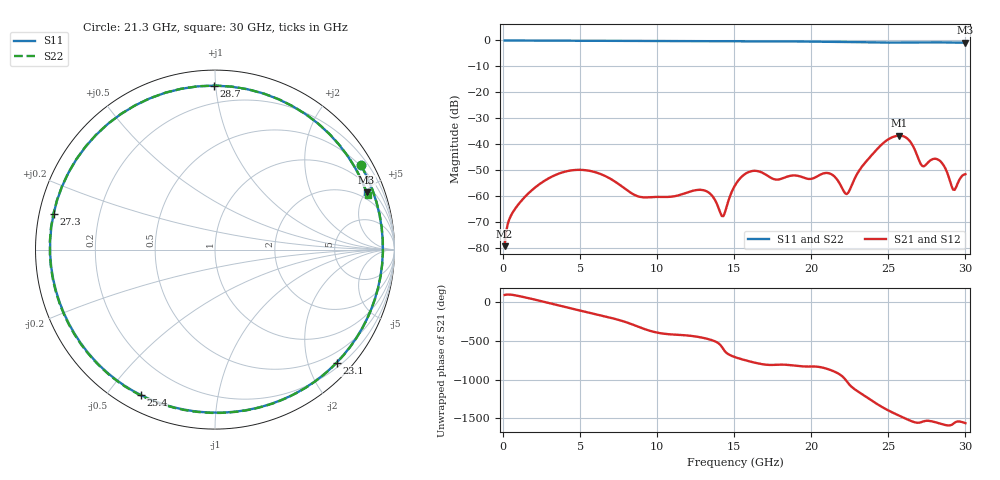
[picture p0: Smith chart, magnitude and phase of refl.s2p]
! Created Sat Feb 15 09:35:39 2025
! List of port names and net name(s): example Port n = <port_name> <net_name1> <net_name2> ...
! Port 1 = P1 P1
! Port 2 = P2 P2
# hz S ma R 50
! 2 Port Network Data from data block
! freq  magS11  angS11  magS21  angS21  magS12  angS12  magS22  angS22
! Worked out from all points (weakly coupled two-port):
!   300 points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, 100 MHz to 30 GHz, reference 50 ohm
!   highest |S21| = -36.63 dB at 25.7 GHz (marker M1); lowest = -79.2 dB at 100 MHz (marker M2)
!   lowest |S11| = -0.9 dB at 30 GHz (marker M3), VSWR 19.59, Z = 73.1 + j253 ohm
!   |S11| at or under -10 dB: nowhere
!   |S22| runs from -0.9 to 0.0 dB; largest |S21 - S12| = 0
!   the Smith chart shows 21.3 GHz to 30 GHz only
!   S11 on the Smith chart (normalised r, x): 21.3 GHz: 0.46, +3.66; 23.1 GHz: 0.29, -2.51; 25.4 GHz: 0.06, -0.61; 27.3 GHz: 0.04, +0.11; 28.7 GHz: 0.09, +0.99; 30 GHz: 1.46, +5.06
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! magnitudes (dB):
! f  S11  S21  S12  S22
! 100 MHz  0.0  -79.2  -79.2  0.0
! 500 MHz  0.0  -67.5  -67.5  0.0
! 1.6 GHz  -0.1  -59.1  -59.1  -0.1
! 5.1 GHz  -0.1  -49.8  -49.8  -0.1
! 10.1 GHz  -0.2  -60.2  -60.2  -0.2
! 13.1 GHz  -0.3  -57.8  -57.8  -0.3
! 14.3 GHz  -0.3  -67.6  -67.6  -0.3
! 15.1 GHz  -0.3  -55.3  -55.3  -0.3
! 16.3 GHz  -0.3  -50.2  -50.2  -0.3
! 20.1 GHz  -0.5  -53.1  -53.1  -0.5
! 21.3 GHz  -0.5  -51.5  -51.5  -0.5
! 22.3 GHz  -0.6  -59.1  -59.1  -0.6
! 23.1 GHz  -0.7  -50.1  -50.1  -0.7
! 25.1 GHz  -0.8  -37.7  -37.7  -0.8
! 25.4 GHz  -0.8  -36.9  -36.9  -0.8
! 25.7 GHz  -0.8  -36.6  -36.6  -0.8
! 26.4 GHz  -0.8  -38.8  -38.8  -0.8
! 27.3 GHz  -0.7  -48.4  -48.4  -0.7
! 28.1 GHz  -0.7  -45.6  -45.6  -0.7
! 28.7 GHz  -0.8  -49.3  -49.3  -0.8
! 29.2 GHz  -0.8  -57.4  -57.4  -0.8
! 30 GHz  -0.9  -51.5  -51.5  -0.9
